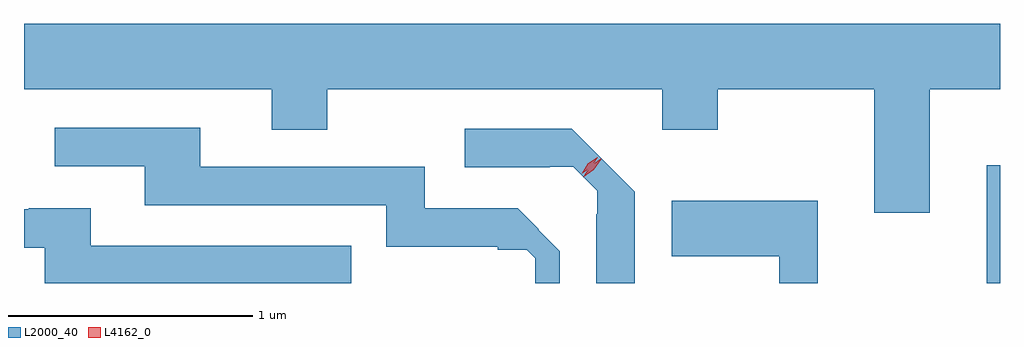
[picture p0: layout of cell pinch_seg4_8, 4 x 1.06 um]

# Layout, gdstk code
import gdstk
lib = gdstk.Library(unit=1e-6, precision=1e-09)
def R(c, l, rs):  # rectangles x0, y0, x1, y1
    for r in rs: c.add(gdstk.rectangle(r[:2], r[2:], *l))
def P(c, l, *ps):  # polygons
    for p in ps: c.add(gdstk.Polygon(p, *l))
L2000_40 = (2000, 40)
L4162_0 = (4162, 0)

pinch_seg4_8 = lib.new_cell('pinch_seg4_8')
R(pinch_seg4_8, L2000_40, [(846.831,1253.982,846.886,1254.464)])
P(pinch_seg4_8, L2000_40, [(846.599,1254.776),(846.886,1254.776),(846.886,1255.044),(842.886,1255.044),(842.886,1254.776),(843.901,1254.776),(843.901,1254.611),(844.129,1254.611),(844.129,1254.776),(845.501,1254.776),(845.501,1254.611),(845.729,1254.611),(845.729,1254.776),(846.371,1254.776),(846.371,1254.271),(846.599,1254.271)],
  [(845.081,1254.113),(844.994,1254.201),(844.996,1254.203),(844.91,1254.289),(844.529,1254.289),(844.529,1254.459),(843.609,1254.459),(843.609,1254.619),(843.013,1254.619),(843.013,1254.461),(843.381,1254.461),(843.381,1254.301),(844.371,1254.301),(844.371,1254.131),(844.828,1254.131),(844.828,1254.118),(844.946,1254.118),(844.981,1254.083),(844.981,1253.982),(845.081,1253.982)],
  [(845.389,1254.356),(845.131,1254.614),(844.693,1254.614),(844.693,1254.456),(845.04,1254.456),(845.04,1254.459),(845.136,1254.459),(845.235,1254.36),(845.235,1254.265),(845.231,1254.265),(845.231,1253.982),(845.389,1253.982)],
  [(846.139,1254.319),(845.541,1254.319),(845.541,1254.091),(845.981,1254.091),(845.981,1253.982),(846.139,1253.982)],
  [(844.228,1254.134),(843.159,1254.134),(843.159,1254.289),(842.905,1254.289),(842.905,1254.284),(842.886,1254.284),(842.886,1254.126),(842.971,1254.126),(842.971,1253.982),(844.228,1253.982)])
P(pinch_seg4_8, L4162_0, [(845.178,1254.416),(845.178,1254.416),(845.207,1254.46),(845.25,1254.491),(845.251,1254.491),(845.251,1254.49),(845.222,1254.446),(845.179,1254.416)],
  [(845.171,1254.43),(845.171,1254.43),(845.197,1254.47),(845.236,1254.497),(845.237,1254.497),(845.237,1254.497),(845.211,1254.457),(845.172,1254.43)])

lib.write_gds('pinch_seg4_8.gds')
